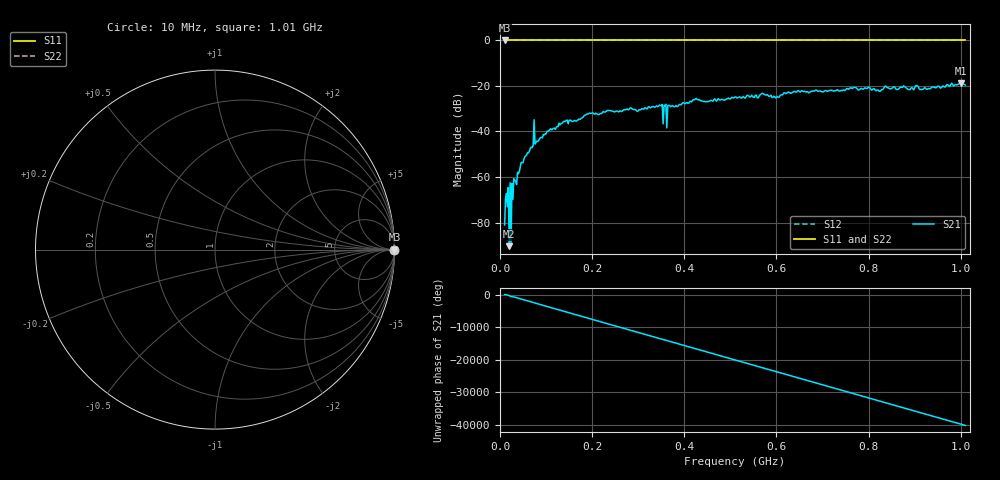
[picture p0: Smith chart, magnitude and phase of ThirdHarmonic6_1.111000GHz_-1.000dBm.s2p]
! 8/16/2025 10:34:41 AM
! C:\ANRITSUVNA\TEMP\TEMP.S2P
! CHANNEL.1
! TR.MEASUREMENT
! RAW.DATA
! RF.CORRECTION.OFF
! AVERAGING.OFF
! IF.BANDWIDTH: 5KHZ
! SWEEPTYPE:  FREQ.SWEEP(Linear)
! Reference Plane Port Info
! PORT:  PORT1  PORT2
! DISTANCE:  0  m  0  m
! TIME:  0  s  0  s
! PHASE.OFFSET:  0  deg.  0  deg.
! LOSS:  0  dB  0  dB
! REF.LOSS:  0  dB  0  dB
! REF.FREQ:  0  Hz  0  Hz
! Power Info
! POWER:  -20  dBm  -20  dBm
! EFF.POWER:  -20  dBm  -20  dBm
! SOURCE.ATTEN:  0  dB  0  dB
! TEST.ATTEN:  0  dB  0  dB
# GHZ S RI R 50.0
! FREQ.GHZ  S11RE  S11IM  S21RE  S21IM  S12RE  S12IM  S22RE  S22IM
!; PortSelection: Port_12
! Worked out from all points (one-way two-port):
!   501 points, 10 MHz to 1.01 GHz, reference 50 ohm
!   highest |S21| = -18.74 dB at 1 GHz (marker M1); lowest = -90.4 dB at 20 MHz (marker M2)
!   lowest |S11| = 0.0 dB at 10 MHz (marker M3)
!   |S11| at or under -10 dB: nowhere
!   |S22| runs from 0.0 to 0.0 dB; largest |S21 - S12| = 1.1
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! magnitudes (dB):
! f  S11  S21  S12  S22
! 10 MHz  0.0  -81.1  0.0  0.0
! 18 MHz  0.0  -64.6  0.0  0.0
! 20 MHz  0.0  -90.4  0.0  0.0
! 22 MHz  0.0  -62.6  0.0  0.0
! 24 MHz  0.0  -89.4  0.0  0.0
! 26 MHz  0.0  -62.8  0.0  0.0
! 34 MHz  0.0  -61.9  0.0  0.0
! 50 MHz  0.0  -53.7  0.0  0.0
! 68 MHz  0.0  -46.9  0.0  0.0
! 70 MHz  0.0  -47.1  0.0  0.0
! 142 MHz  0.0  -35.5  0.0  0.0
! 178 MHz  0.0  -34.1  0.0  0.0
! 344 MHz  0.0  -28.9  0.0  0.0
! 356 MHz  0.0  -28.5  0.0  0.0
! 358 MHz  0.0  -28.6  0.0  0.0
! 368 MHz  0.0  -28.6  0.0  0.0
! 422 MHz  0.0  -26.1  0.0  0.0
! 510 MHz  0.0  -24.8  0.0  0.0
! 678 MHz  0.0  -22.3  0.0  0.0
! 844 MHz  0.0  -21.0  0.0  0.0
! 1 GHz  0.0  -18.7  0.0  0.0
! 1.01 GHz  0.0  -19.6  0.0  0.0
